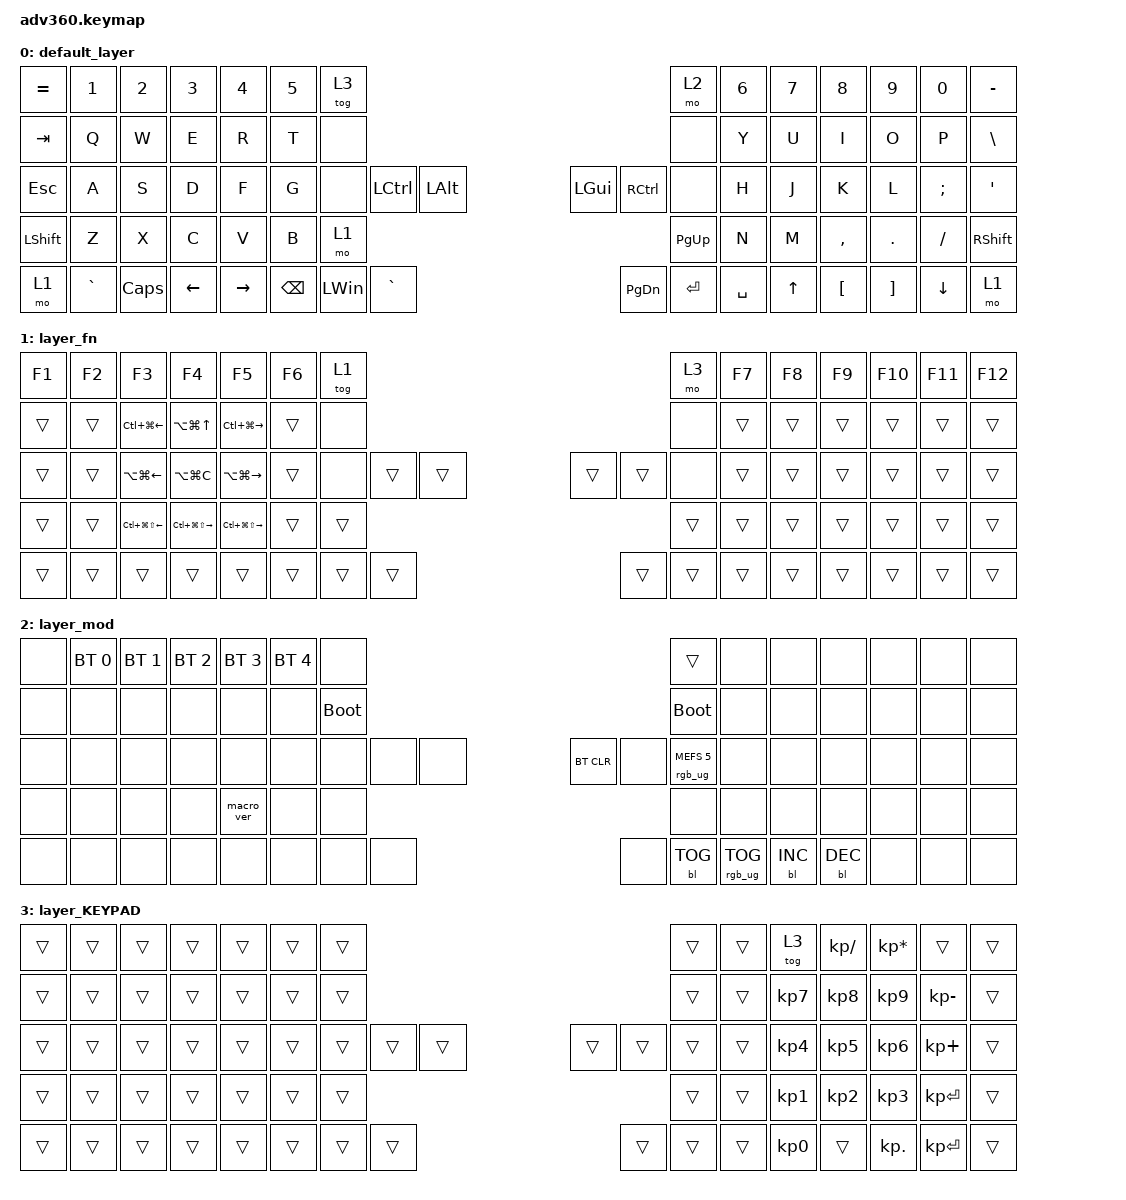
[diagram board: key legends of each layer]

/*
 * Copyright (c) 2020 The ZMK Contributors
 *
 * SPDX-License-Identifier: MIT
 */


/* THIS FILE WAS GENERATED!
 *
 * This file was generated automatically. You may or may not want to
 * edit it directly.
 */

#include <behaviors.dtsi>
#include <dt-bindings/zmk/keys.h>
#include <dt-bindings/zmk/bt.h>
#include <dt-bindings/zmk/rgb.h>
#include <dt-bindings/zmk/backlight.h>

/ {
  behaviors {
    #include "macros.dtsi"
    #include "version.dtsi"

    hm: homerow_mods {
        compatible = "zmk,behavior-hold-tap";
        label = "HOMEROW_MODS";
        #binding-cells = <2>;
        tapping-term-ms = <200>;
        quick_tap_ms = <175>;
        flavor = "tap-preferred";
        bindings = <&kp>, <&kp>;
    };
  };

    keymap {
        compatible = "zmk,keymap";


        default_layer {
            bindings = <
 &kp EQUAL     &kp N1    &kp N2    &kp N3     &kp N4  &kp N5              &tog 3                                                                     &mo 2  &kp N6  &kp N7     &kp N8    &kp N9    &kp N0  &kp MINUS
   &kp TAB      &kp Q     &kp W     &kp E      &kp R   &kp T               &none                                                                     &none   &kp Y   &kp U      &kp I     &kp O     &kp P   &kp BSLH
   &kp ESC      &kp A     &kp S     &kp D      &kp F   &kp G               &none     &kp LCTRL   &kp LALT                   &kp LGUI  &kp RCTRL      &none   &kp H   &kp J      &kp K     &kp L  &kp SEMI    &kp SQT
 &kp LSHFT      &kp Z     &kp X     &kp C      &kp V   &kp B                                        &mo 1                  &kp PG_UP                         &kp N   &kp M  &kp COMMA   &kp DOT  &kp FSLH  &kp RSHFT
     &mo 1  &kp GRAVE  &kp CAPS  &kp LEFT  &kp RIGHT                    &kp BSPC  &kp LEFT_WIN  &kp GRAVE                  &kp PG_DN  &kp ENTER  &kp SPACE          &kp UP   &kp LBKT  &kp RBKT  &kp DOWN      &mo 1
            >;
        };

        layer_fn {
            bindings = <
 &kp F1  &kp F2                &kp F3                 &kp F4                 &kp F5  &kp F6            &tog 1                                                   &mo 3  &kp F7  &kp F8  &kp F9  &kp F10  &kp F11  &kp F12
 &trans  &trans      &kp LC(LG(LEFT))         &kp LA(LG(UP))      &kp LC(LG(RIGHT))  &trans             &none                                                   &none  &trans  &trans  &trans   &trans   &trans   &trans
 &trans  &trans      &kp LA(LG(LEFT))          &kp LA(LG(C))      &kp LA(LG(RIGHT))  &trans             &none  &trans  &trans                  &trans  &trans   &none  &trans  &trans  &trans   &trans   &trans   &trans
 &trans  &trans  &kp LC(LG(LS(LEFT)))  &kp LC(LG(LS(RIGHT)))  &kp LC(LG(LS(RIGHT)))  &trans                            &trans                  &trans                  &trans  &trans  &trans   &trans   &trans   &trans
 &trans  &trans                &trans                 &trans                 &trans                    &trans  &trans  &trans                  &trans  &trans  &trans          &trans  &trans   &trans   &trans   &trans
            >;
        };

        layer_mod {
            bindings = <
  &none  &bt BT_SEL 0  &bt BT_SEL 1  &bt BT_SEL 2  &bt BT_SEL 3  &bt BT_SEL 4                  &none                                                                          &trans   &none       &none       &none   &none   &none   &none
  &none         &none         &none         &none         &none         &none            &bootloader                                                                     &bootloader   &none       &none       &none   &none   &none   &none
  &none         &none         &none         &none         &none         &none                  &none   &none   &none                  &bt BT_CLR       &none  &rgb_ug RGB_MEFS_CMD 5   &none       &none       &none   &none   &none   &none
  &none         &none         &none         &none    &macro_ver         &none                                  &none                       &none                                       &none       &none       &none   &none   &none   &none
  &none         &none         &none         &none         &none                                &none   &none   &none                       &none  &bl BL_TOG         &rgb_ug RGB_TOG          &bl BL_INC  &bl BL_DEC   &none   &none   &none
            >;
        };

        layer_KEYPAD {
            bindings = <
 &trans  &trans  &trans  &trans  &trans  &trans            &trans                                                  &trans  &trans     &tog 3  &kp KP_DIVIDE  &kp KP_MULTIPLY        &trans  &trans
 &trans  &trans  &trans  &trans  &trans  &trans            &trans                                                  &trans  &trans  &kp KP_N7      &kp KP_N8        &kp KP_N9  &kp KP_MINUS  &trans
 &trans  &trans  &trans  &trans  &trans  &trans            &trans  &trans  &trans                  &trans  &trans  &trans  &trans  &kp KP_N4      &kp KP_N5        &kp KP_N6   &kp KP_PLUS  &trans
 &trans  &trans  &trans  &trans  &trans  &trans                            &trans                  &trans                  &trans  &kp KP_N1      &kp KP_N2        &kp KP_N3  &kp KP_ENTER  &trans
 &trans  &trans  &trans  &trans  &trans                    &trans  &trans  &trans                  &trans  &trans  &trans          &kp KP_N0         &trans       &kp KP_DOT  &kp KP_ENTER  &trans
            >;
        };

    };
};
